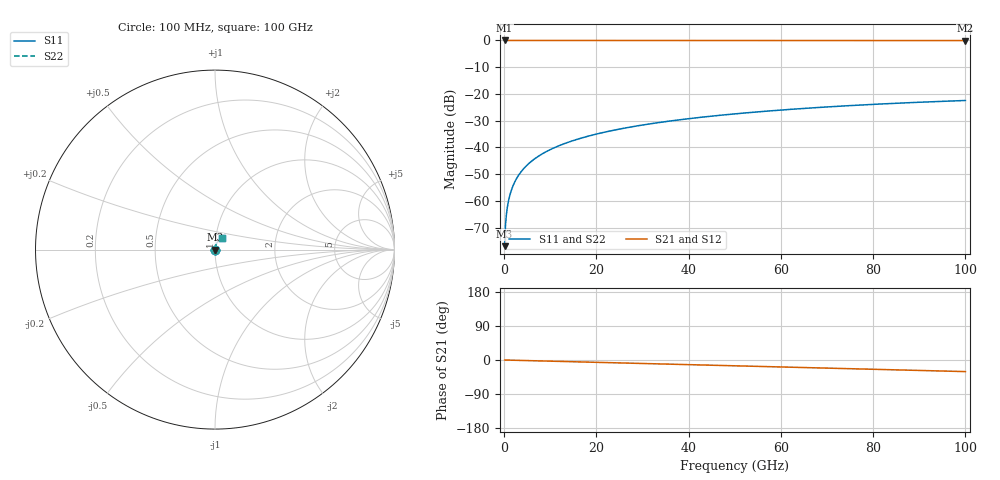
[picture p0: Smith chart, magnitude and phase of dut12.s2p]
! Touchstone file exported from HFSS 2026.1.0
!  File:  C:/ffzhzh/LocalFiles/Ansys_Project_Files/temp_train_TSV_12_1783504259_9504.aedt
!  Generated:  05:52:16 PM Jul  8, 2026
!  Design:  TSV
!  Project:  temp_train_TSV_12_1783504259_9504
! Variables:
!  h_bsmrdl = 2um
!  h_ox = 20um
!  h_rdl = 5um
!  h_sub = 54.49um
!  h_tmrdl = 5um
!  h_tsv = 54.49um
!  h_via = 3um
!  l_bsmrdl = 300um
!  l_sub = 422.6um
!  l_tmrdl = 200um
!  m_sub = 200um
!  pitch = 53.84um
!  r_tsv = 11.3um
!  s_tmrdl = 10um
!  w_bsmrdl = 18um
!  w_sub = 500um
!  w_tmrdl = 12um
!  x_tsv_center1 = 206um
!  x_tsv_center2 = 524um
!  x_tsv_center3 = 736um
!  x_tsv_center4 = 1054um
!  x_tsv_center5 = 1266um
!  x_tsv_center6 = 1584um
# GHz S MA R 50.000000
! Terminal data exported
! Port[1] = TSV1_1_T1
! Port[2] = TSV1_1_T2
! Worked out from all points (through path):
!   1000 points, 100 MHz to 100 GHz, reference 50 ohm
!   highest |S21| = 0.00 dB at 100 MHz (marker M1); lowest = 0.0 dB at 100 GHz (marker M2)
!   group delay of S21, straight-line fit = 849 fs
!   lowest |S11| = -76.9 dB at 100 MHz (marker M3), VSWR 1.00, Z = 50 + j0.0118 ohm
!   |S11| at or under -10 dB: start of sweep to end of sweep
!   |S22| runs from -76.9 to -22.4 dB; largest |S21 - S12| = 2.1e-15
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0.1  0.0001427 56.0  0.9999 -0.0  0.9999 -0.0  0.0001427 56.0
! Gamma 0 0 0 0
! Port Impedance 50 0 50 0
0.3  0.0003599 73.4  0.9999 -0.1  0.9999 -0.1  0.0003599 73.4
0.7  0.0007675 77.9  0.9998 -0.2  0.9998 -0.2  0.0007675 77.9
0.8  0.0008639 78.4  0.9998 -0.3  0.9998 -0.3  0.0008639 78.4
1  0.001054 79.3  0.9998 -0.3  0.9998 -0.3  0.001054 79.3
1.3  0.001336 80.4  0.9998 -0.4  0.9998 -0.4  0.001336 80.4
1.8  0.001802 81.5  0.9997 -0.6  0.9997 -0.6  0.001802 81.5
2.3  0.002263 82.1  0.9997 -0.7  0.9997 -0.7  0.002263 82.1
3  0.002902 82.6  0.9997 -0.9  0.9997 -0.9  0.002902 82.7
3.8  0.003624 83.0  0.9996 -1.2  0.9996 -1.2  0.003624 83.0
4.8  0.004519 83.3  0.9996 -1.5  0.9996 -1.5  0.004519 83.3
6  0.005587 83.4  0.9995 -1.9  0.9995 -1.9  0.005587 83.4
8.8  0.008062 83.3  0.9994 -2.7  0.9994 -2.7  0.008062 83.3
12.4  0.01121 82.7  0.9993 -3.8  0.9993 -3.8  0.01121 82.7
16.8  0.01503 81.8  0.9991 -5.2  0.9991 -5.2  0.01503 81.8
24.2  0.02136 80.1  0.9988 -7.4  0.9988 -7.4  0.02136 80.1
33.4  0.02908 77.6  0.9985 -10.2  0.9985 -10.2  0.02908 77.6
41.2  0.03545 75.4  0.9981 -12.6  0.9981 -12.6  0.03545 75.5
50.1  0.0425 72.9  0.9977 -15.3  0.9977 -15.3  0.0425 72.9
66.7  0.05485 68.0  0.9969 -20.4  0.9969 -20.4  0.05485 68.1
83.4  0.06599 63.1  0.996 -25.5  0.996 -25.5  0.06599 63.1
100  0.07543 58.2  0.9951 -30.6  0.9951 -30.6  0.07542 58.2
